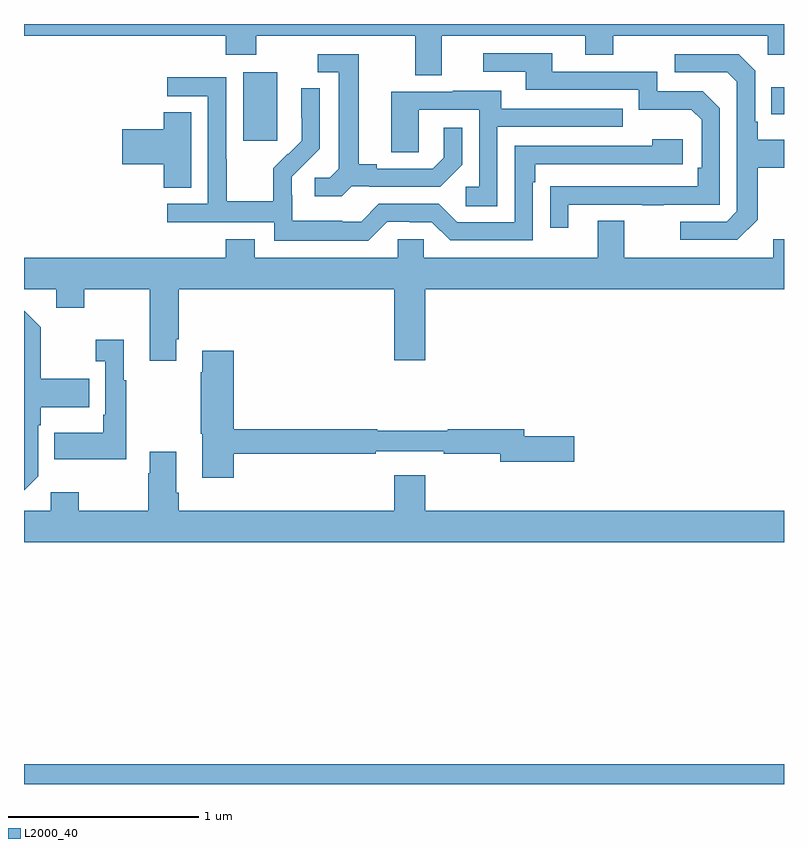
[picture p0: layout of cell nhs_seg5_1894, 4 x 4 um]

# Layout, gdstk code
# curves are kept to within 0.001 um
import gdstk
lib = gdstk.Library(unit=1e-6, precision=1e-09)
def R(c, l, rs):  # rectangles x0, y0, x1, y1
    for r in rs: c.add(gdstk.rectangle(r[:2], r[2:], *l))
def P(c, l, *ps):  # polygons
    for p in ps: c.add(gdstk.Polygon(p, *l))
L2000_40 = (2000, 40)

nhs_seg5_1894 = lib.new_cell('nhs_seg5_1894')
R(nhs_seg5_1894, L2000_40, [(223,876.799,227,876.904), (224.153,880.185,224.332,880.546), (226.933,880.325,227,880.465)])
P(nhs_seg5_1894, L2000_40, [(225.199,880.736),(225.953,880.736),(225.953,880.637),(226.101,880.637),(226.101,880.736),(226.914,880.736),(226.914,880.637),(227,880.637),(227,880.799),(223,880.799),(223,880.736),(224.063,880.736),(224.063,880.637),(224.223,880.637),(224.223,880.736),(225.059,880.736),(225.059,880.528),(225.199,880.528)],
  [(225.865,879.849),(226.255,879.849),(226.255,879.844),(226.367,879.844),(226.367,879.849),(226.662,879.849),(226.662,880.356),(226.572,880.446),(226.332,880.446),(226.332,880.548),(225.781,880.548),(225.781,880.644),(225.417,880.644),(225.417,880.548),(225.641,880.548),(225.641,880.452),(226.236,880.452),(226.236,880.349),(226.513,880.349),(226.566,880.296),(226.566,880.042),(226.546,880.042),(226.546,879.945),(225.769,879.944),(225.769,879.726),(225.865,879.726)],
  [(226.861,879.769),(226.861,880.042),(227,880.042),(227,880.189),(226.861,880.189),(226.861,880.285),(226.848,880.285),(226.848,880.554),(226.761,880.641),(226.425,880.641),(226.425,880.545),(226.701,880.545),(226.752,880.494),(226.752,879.813),(226.698,879.759),(226.455,879.759),(226.455,879.663),(226.755,879.663)],
  [(224.724,879.945),(224.818,879.945),(224.818,879.942),(225.19,879.942),(225.306,880.058),(225.306,880.252),(225.209,880.252),(225.209,880.095),(225.152,880.038),(224.857,880.038),(224.857,880.061),(224.761,880.061),(224.761,880.641),(224.547,880.641),(224.547,880.545),(224.657,880.545),(224.657,880.037),(224.61,879.99),(224.529,879.99),(224.529,879.893),(224.672,879.893)],
  [(224.913,879.759),(225.029,879.759),(225.029,879.756),(225.147,879.756),(225.243,879.66),(225.678,879.66),(225.678,879.965),(225.691,879.965),(225.691,880.062),(226.468,880.062),(226.468,880.192),(226.307,880.192),(226.307,880.158),(225.582,880.158),(225.582,879.756),(225.279,879.756),(225.183,879.852),(224.868,879.852),(224.775,879.759),(224.675,879.759),(224.675,879.763),(224.412,879.763),(224.412,879.897),(224.41,879.897),(224.41,879.994),(224.556,880.142),(224.556,880.46),(224.46,880.46),(224.46,880.306),(224.462,880.306),(224.462,880.184),(224.391,880.113),(224.388,880.116),(224.311,880.039),(224.311,879.865),(224.067,879.865),(224.067,880.088),(224.064,880.088),(224.064,880.518),(223.755,880.518),(223.755,880.419),(223.968,880.419),(223.968,879.852),(223.755,879.852),(223.755,879.756),(224.316,879.756),(224.316,879.659),(224.813,879.659)],
  [(225.492,880.257),(226.151,880.257),(226.151,880.353),(225.511,880.353),(225.511,880.447),(225.257,880.447),(225.257,880.443),(224.933,880.443),(224.933,880.123),(225.078,880.123),(225.078,880.347),(225.396,880.347),(225.396,879.942),(225.324,879.942),(225.324,879.841),(225.492,879.841)],
  [(223.879,880.334),(223.736,880.334),(223.736,880.244),(223.518,880.244),(223.518,880.061),(223.736,880.061),(223.736,879.937),(223.879,879.937)],
  [(223.801,879.139),(223.814,879.139),(223.814,879.404),(224.948,879.404),(224.948,879.03),(225.112,879.03),(225.112,879.404),(227,879.404),(227,879.667),(226.943,879.667),(226.943,879.568),(226.159,879.568),(226.159,879.763),(226.019,879.763),(226.019,879.568),(225.105,879.568),(225.105,879.666),(224.967,879.666),(224.967,879.568),(224.215,879.568),(224.215,879.667),(224.063,879.667),(224.063,879.568),(223,879.568),(223,879.404),(223.169,879.404),(223.169,879.305),(223.317,879.305),(223.317,879.404),(223.661,879.404),(223.661,879.027),(223.801,879.027)],
  [(223.074,878.418),(223.074,878.687),(223.087,878.687),(223.087,878.783),(223.343,878.783),(223.343,878.931),(223.087,878.931),(223.087,879.203),(223,879.29),(223,878.344)],
  [(223.537,878.923),(223.525,878.923),(223.525,879.136),(223.377,879.136),(223.377,879.023),(223.428,879.023),(223.428,878.743),(223.416,878.743),(223.416,878.647),(223.159,878.647),(223.159,878.507),(223.537,878.507)],
  [(224.105,878.538),(224.852,878.538),(224.852,878.55),(225.208,878.55),(225.208,878.538),(225.506,878.538),(225.506,878.495),(225.895,878.495),(225.895,878.63),(225.634,878.63),(225.634,878.666),(225.23,878.666),(225.23,878.659),(224.859,878.659),(224.859,878.666),(224.105,878.666),(224.105,879.079),(223.937,879.079),(223.937,878.966),(223.93,878.966),(223.93,878.643),(223.937,878.643),(223.937,878.412),(224.105,878.412)],
  [(227,878.236),(225.112,878.236),(225.112,878.425),(224.948,878.425),(224.948,878.236),(223.814,878.236),(223.814,878.332),(223.801,878.332),(223.801,878.548),(223.661,878.548),(223.661,878.435),(223.654,878.435),(223.654,878.236),(223.287,878.236),(223.287,878.335),(223.14,878.335),(223.14,878.236),(223,878.236),(223,878.072),(227,878.072)])

lib.write_gds('nhs_seg5_1894.gds')
